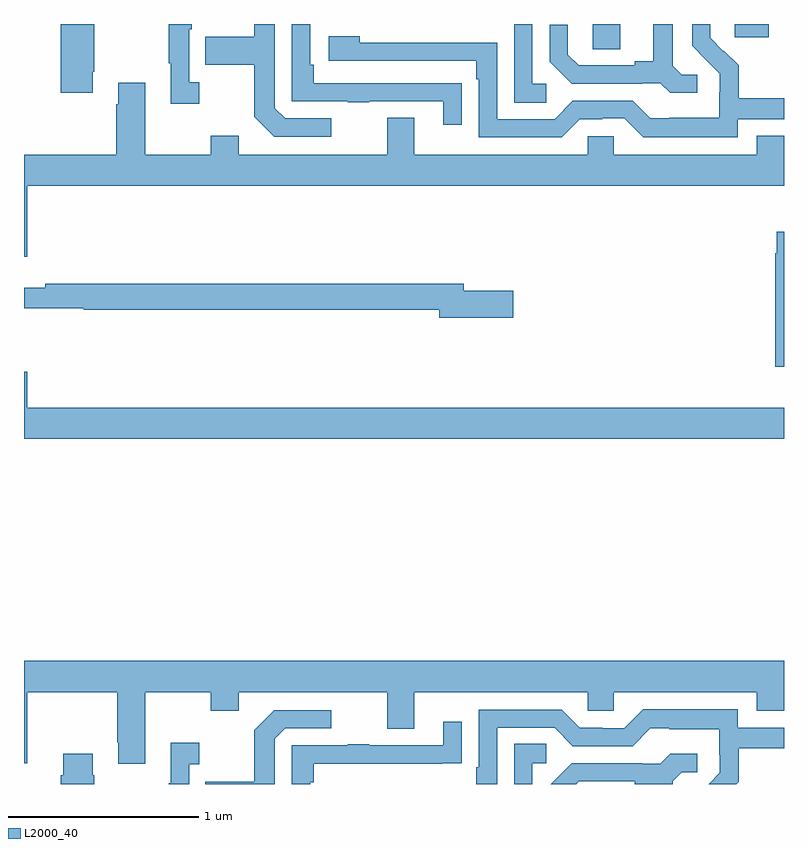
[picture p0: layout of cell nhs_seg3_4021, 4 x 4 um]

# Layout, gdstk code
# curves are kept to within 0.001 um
import gdstk
lib = gdstk.Library(unit=1e-6, precision=1e-09)
def R(c, l, rs):  # rectangles x0, y0, x1, y1
    for r in rs: c.add(gdstk.rectangle(r[:2], r[2:], *l))
def P(c, l, *ps):  # polygons
    for p in ps: c.add(gdstk.Polygon(p, *l))
L2000_40 = (2000, 40)

nhs_seg3_4021 = lib.new_cell('nhs_seg3_4021')
R(nhs_seg3_4021, L2000_40, [(323.994,736.267,324.139,736.4), (324.74,736.329,324.919,736.4)])
P(nhs_seg3_4021, L2000_40, [(321.361,736.15),(321.369,736.15),(321.369,736.4),(321.194,736.4),(321.194,736.038),(321.361,736.038)],
  [(323.303,736.088),(323.201,736.088),(323.201,736.089),(322.526,736.089),(322.526,736.186),(322.506,736.186),(322.506,736.4),(322.41,736.4),(322.41,735.993),(322.705,735.993),(322.705,735.988),(322.817,735.988),(322.817,735.993),(323.207,735.993),(323.207,735.87),(323.303,735.87)],
  [(322.618,735.903),(322.374,735.903),(322.32,735.957),(322.32,736.4),(322.212,736.4),(322.212,736.333),(321.955,736.333),(321.955,736.186),(322.212,736.186),(322.212,735.913),(322.317,735.807),(322.618,735.807)],
  [(323.749,736.086),(323.676,736.086),(323.676,736.4),(323.58,736.4),(323.58,735.985),(323.749,735.985)],
  [(324.544,736.134),(324.462,736.134),(324.415,736.181),(324.415,736.4),(324.311,736.4),(324.311,736.205),(324.215,736.205),(324.215,736.182),(323.92,736.182),(323.863,736.239),(323.863,736.396),(323.766,736.396),(323.766,736.202),(323.882,736.086),(324.254,736.086),(324.254,736.089),(324.348,736.089),(324.4,736.037),(324.544,736.037)],
  [(324.756,735.9),(325,735.9),(325,736.009),(324.761,736.009),(324.761,736.183),(324.684,736.26),(324.681,736.257),(324.611,736.328),(324.611,736.4),(324.516,736.4),(324.516,736.286),(324.662,736.138),(324.662,736.041),(324.66,736.041),(324.66,735.907),(324.397,735.907),(324.397,735.903),(324.297,735.903),(324.204,735.996),(323.889,735.996),(323.793,735.9),(323.49,735.9),(323.49,736.302),(322.766,736.302),(322.766,736.336),(322.605,736.336),(322.605,736.206),(323.381,736.206),(323.381,736.109),(323.394,736.109),(323.394,735.804),(323.829,735.804),(323.925,735.9),(324.044,735.9),(324.044,735.903),(324.159,735.903),(324.259,735.803),(324.756,735.803)],
  [(321.922,736.094),(321.87,736.094),(321.87,736.373),(321.883,736.373),(321.883,736.4),(321.762,736.4),(321.762,736.193),(321.773,736.193),(321.773,735.981),(321.922,735.981)],
  [(321.016,735.548),(325,735.548),(325,735.811),(324.857,735.811),(324.857,735.712),(324.105,735.712),(324.105,735.81),(323.967,735.81),(323.967,735.712),(323.053,735.712),(323.053,735.907),(322.913,735.907),(322.913,735.712),(322.129,735.712),(322.129,735.811),(321.982,735.811),(321.982,735.712),(321.637,735.712),(321.637,736.09),(321.497,736.09),(321.497,735.977),(321.485,735.977),(321.485,735.712),(321,735.712),(321,735.174),(321.016,735.174)],
  [(325,735.307),(324.963,735.307),(324.963,735.194),(324.955,735.194),(324.955,734.597),(325,734.597)],
  [(323.575,734.996),(323.314,734.996),(323.314,735.032),(321.112,735.032),(321.112,735.013),(321,735.013),(321,734.904),(321.314,734.904),(321.314,734.896),(323.186,734.896),(323.186,734.854),(323.575,734.854)],
  [(325,734.38),(321.016,734.38),(321.016,734.569),(321,734.569),(321,734.216),(325,734.216)],
  [(321.637,732.884),(321.982,732.884),(321.982,732.785),(322.129,732.785),(322.129,732.884),(322.913,732.884),(322.913,732.69),(323.053,732.69),(323.053,732.884),(323.967,732.884),(323.967,732.786),(324.105,732.786),(324.105,732.884),(324.857,732.884),(324.857,732.785),(325,732.785),(325,733.048),(321,733.048),(321,732.51),(321.016,732.51),(321.016,732.884),(321.49,732.884),(321.49,732.619),(321.497,732.619),(321.497,732.507),(321.637,732.507)],
  [(323.49,732.696),(323.793,732.696),(323.889,732.6),(324.204,732.6),(324.297,732.693),(324.397,732.693),(324.397,732.689),(324.66,732.689),(324.66,732.555),(324.662,732.555),(324.662,732.458),(324.604,732.4),(324.748,732.4),(324.761,732.413),(324.761,732.588),(325,732.588),(325,732.696),(324.756,732.696),(324.756,732.793),(324.259,732.793),(324.159,732.693),(324.044,732.693),(324.044,732.696),(323.925,732.696),(323.829,732.792),(323.394,732.792),(323.394,732.487),(323.381,732.487),(323.381,732.4),(323.49,732.4)],
  [(322.32,732.639),(322.374,732.693),(322.618,732.693),(322.618,732.789),(322.317,732.789),(322.212,732.683),(322.212,732.411),(321.955,732.411),(321.955,732.4),(322.32,732.4)],
  [(322.506,732.41),(322.526,732.41),(322.526,732.507),(323.201,732.507),(323.201,732.508),(323.303,732.508),(323.303,732.727),(323.207,732.727),(323.207,732.603),(322.817,732.603),(322.817,732.608),(322.705,732.608),(322.705,732.603),(322.41,732.603),(322.41,732.4),(322.506,732.4)],
  [(321.87,732.503),(321.922,732.503),(321.922,732.616),(321.773,732.616),(321.773,732.403),(321.762,732.403),(321.762,732.4),(321.87,732.4)],
  [(323.676,732.51),(323.749,732.51),(323.749,732.611),(323.58,732.611),(323.58,732.4),(323.676,732.4)],
  [(323.92,732.414),(324.215,732.414),(324.215,732.4),(324.415,732.4),(324.415,732.415),(324.462,732.462),(324.544,732.462),(324.544,732.559),(324.4,732.559),(324.348,732.507),(324.254,732.507),(324.254,732.51),(323.882,732.51),(323.772,732.4),(323.906,732.4)],
  [(321.369,732.446),(321.361,732.446),(321.361,732.559),(321.206,732.559),(321.206,732.446),(321.194,732.446),(321.194,732.4),(321.369,732.4)])

lib.write_gds('nhs_seg3_4021.gds')
